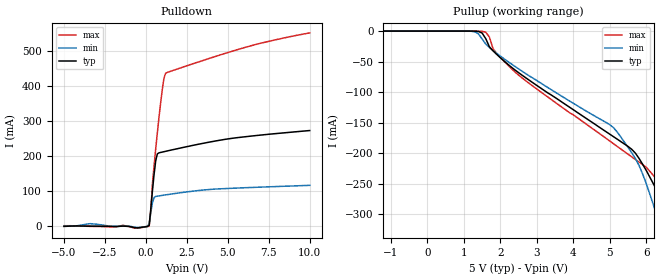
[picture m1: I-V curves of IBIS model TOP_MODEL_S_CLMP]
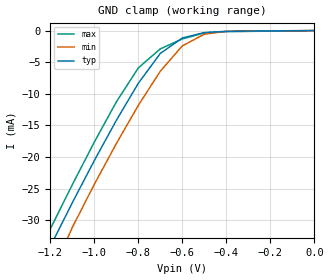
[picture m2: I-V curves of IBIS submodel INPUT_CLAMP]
[IBIS Ver]   3.2
[File Name]   dclampst.ibs
[File Rev]   0.2
[Date]   June 24, 1998
[Source]   Artifical Data
[Notes]   This data is a sample, only.
   This file demonstrates a Static Clamp that is used only
   at the Input mode of an I/O buffer
[Disclaimer]   This information is for modeling purposes and is not
|   guaranteed.
[Copyright]   None - public sample
|   Component STATIC-CLAMP-SAMPLE
[Component]   STATIC-CLAMP-SAMPLE
[Manufacturer]   None
[Package]
| variable   typ   min   max
R_pkg   200m   100m   300m
L_pkg   4.32nH   3.34nH   5.30nH
C_pkg   0.38pF   0.33pF   0.43pF
[Pin]  signal_name   model_name   R_pin   L_pin   C_pin
  1   Sample1   TOP_MODEL_S_CLMP
 12   GND   GND
 24   VCC   POWER
| Models and submodels in the file (2): TOP_MODEL_S_CLMP (I/O), INPUT_CLAMP (Dynamic_clamp)
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|   Model TOP_MODEL_S_CLMP
[Model]   TOP_MODEL_S_CLMP
Model_type   I/O
Vinl =   0.8000V
Vinh =   2.0000V
Vmeas =   1.5000V
Cref =  50.0000pF
Rref =   0.5000k
Vref =  0.000V
C_comp   4pF   3pF   5pF | Includes Submodel contribution
[Add Submodel]
| Submodel   Submodel_mode
INPUT_CLAMP   Non-Driving   | Adds [GND CLAMP] for Input mode only
[Temperature Range]   50.0000   100.0000   0.000
[Voltage Range]   5.0000V   4.5000V   5.5000V
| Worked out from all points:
|   slope of the pulldown table from 0 to 0.75 V, typ, clamps not added: 3.6 ohm
[Pulldown]
| voltage   I(typ)   I(min)   I(max)
-5V       0A         1mA        2mA
-500mV    -3.981mA   -3.186mA   -4.919mA
200mV     3.036mA    7.738mA    761.5uA
300mV     49.18mA    39.34mA    45.34mA
400mV     100.9mA    67.41mA    120.4mA
600mV     187mA      85.17mA    220.5mA
700mV     206.3mA    86.02mA    266.4mA
1V        211.4mA    88.23mA    388.8mA
1.1V      212.5mA    88.95mA    420.8mA
1.2V      213.6mA    89.66mA    435.5mA
6V        254.7mA    110mA      508.4mA
10V       272.7mA    116.9mA    550.4mA
[Pullup]
| voltage   I(typ)   I(min)   I(max)
-5V       -5.1pA     0A         -5.9pA
1.2V      -26.89uA   -273uA     -49.3uA
1.4V      -635.9uA   -4.446mA   -153.7uA
1.6V      -12.41mA   -21.22mA   -1.827mA
1.8V      -32.43mA   -31.8mA    -28.84mA
2.4V      -63.73mA   -57.91mA   -66.96mA
5.1V      -173.2mA   -158.5mA   -184.7mA
5.8V      -209mA     -220.7mA   -214.8mA
6.4V      -274.1mA   -322.1mA   -251.1mA
6.8V      -347.7mA   -398.7mA   -295.5mA
7.2V      -433.3mA   -478.1mA   -351.9mA
10V       -1.106A    -1.174A    -1.023A
[Ramp]
| variable   typ   min   max
dV/dt_r   1.6517/0.9122n   1.4069/1.3931n   1.8741/0.6292n
dV/dt_f   2.7630/0.6367n   2.4039/0.9815n   3.0695/0.4632n
R_load = 50.0000
|   Submodel INPUT_CLAMP
| Example of [GND Clamp] Used only for Specified Mode:
[Submodel]   INPUT_CLAMP
Submodel_type   Dynamic_clamp
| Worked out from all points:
|   GND clamp passes 1 mA (typ) near -0.58 V on its own axis
| Note, Submodels do not have C_comp
| [Submodel Spec] | No Trigger Subparameter values are needed.
|   typ   min   max
| [Voltage Range]   5.0   4.5   5.5
| Note, the actual voltage range and reference voltages are inherited from
| the top-level model.
| [GND Pulse Table]   No Pulse Table indicates Static Mode
[GND_clamp]
| voltage   I(typ)   I(min)   I(max)
-5V       -1.106A    -1.047A    -1.154A
-1.3V     -41.62mA   -49.91mA   -38.69mA
-1.2V     -34.19mA   -39.05mA   -31.41mA
-1.1V     -27.25mA   -31.17mA   -24.4mA
-1V       -20.58mA   -24.34mA   -17.66mA
-900mV    -14.22mA   -17.9mA    -11.3mA
-800mV    -8.346mA   -11.84mA   -5.913mA
-700mV    -3.616mA   -6.428mA   -2.888mA
-600mV    -1.172mA   -2.419mA   -1.328mA
-500mV    -311.6uA   -571.6uA   -364.6uA
-400mV    -118.1uA   -119.4uA   -169.5uA
0V        -27.55pA   -250.2pA   -30.71pA
